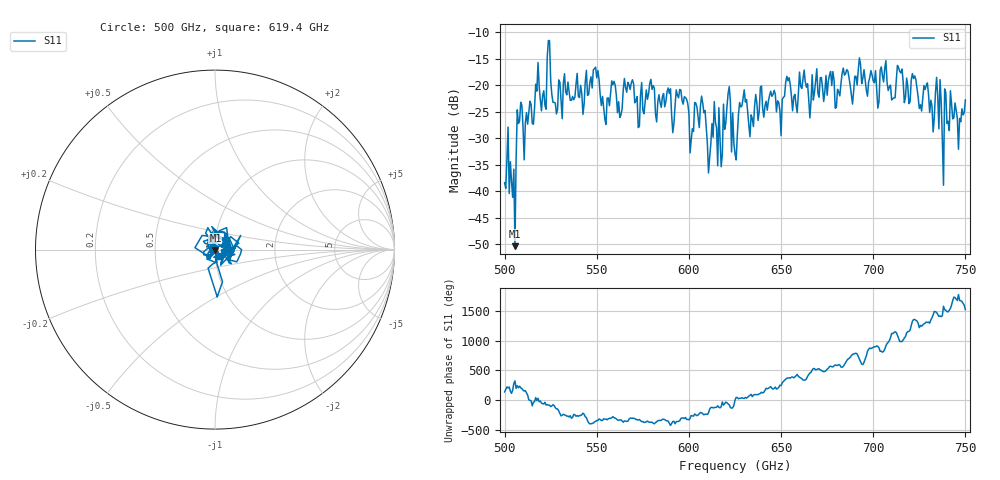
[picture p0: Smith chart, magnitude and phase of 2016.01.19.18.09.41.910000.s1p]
!Created with skrf (http://scikit-rf.org).
# GHz S RI R 50.0
!freq ReS11 ImS11
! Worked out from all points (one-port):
!   401 points, 500 GHz to 750 GHz, reference 50 ohm
!   lowest |S11| = -50.4 dB at 505.6 GHz (marker M1), VSWR 1.01, Z = 50.2 - j0.183 ohm
!   |S11| at or under -10 dB: start of sweep to end of sweep
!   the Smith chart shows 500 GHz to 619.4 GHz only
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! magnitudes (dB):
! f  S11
! 500 GHz  -38.4
! 505.6 GHz  -50.4
! 508.1 GHz  -26.8
! 521.2 GHz  -21.0
! 524.4 GHz  -11.6
! 527.5 GHz  -23.4
! 531.2 GHz  -26.3
! 549.4 GHz  -16.6
! 553.8 GHz  -24.3
! 558.8 GHz  -19.9
! 562.5 GHz  -26.1
! 568.1 GHz  -20.8
! 571.9 GHz  -22.2
! 593.8 GHz  -21.9
! 601.2 GHz  -30.3
! 607.5 GHz  -23.4
! 610.6 GHz  -36.6
! 613.8 GHz  -23.1
! 616.9 GHz  -30.1
! 621.2 GHz  -21.6
! 625 GHz  -33.0
! 628.8 GHz  -23.9
! 656.2 GHz  -24.8
! 687.5 GHz  -20.0
! 718.8 GHz  -20.2
! 735 GHz  -22.1
! 736.9 GHz  -23.2
! 750 GHz  -22.8
